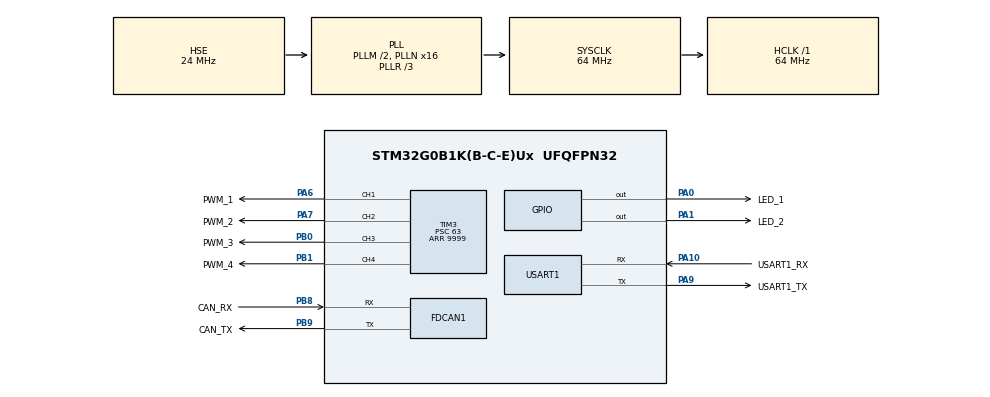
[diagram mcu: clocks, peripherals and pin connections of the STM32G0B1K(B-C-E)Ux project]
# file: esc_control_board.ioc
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FDCAN1.AutoRetransmission=ENABLE
FDCAN1.CalculateBaudRateNominal=500000
FDCAN1.CalculateTimeBitNominal=2000
FDCAN1.CalculateTimeQuantumNominal=125.0
FDCAN1.DataPrescaler=1
FDCAN1.NominalPrescaler=8
FDCAN1.NominalTimeSeg1=13
FDCAN1.NominalTimeSeg2=2
FDCAN1.StdFiltersNbr=3
Mcu.Family=STM32G0
Mcu.Name=STM32G0B1K(B-C-E)Ux
Mcu.Package=UFQFPN32
NVIC.TIM16_FDCAN_IT0_IRQn=true\:0\:0\:false\:false\:true\:true\:true\:true
PA0.GPIO_Label=LED_1
PA0.Signal=GPIO_Output
PA1.GPIO_Label=LED_2
PA1.Signal=GPIO_Output
PA10.GPIO_Label=USART1_RX
PA10.Mode=Asynchronous
PA10.Signal=USART1_RX
PA13.Mode=Serial_Wire
PA13.Signal=SYS_SWDIO
PA14-BOOT0.Mode=Serial_Wire
PA14-BOOT0.Signal=SYS_SWCLK
PA6.GPIO_Label=PWM_1
PA6.Signal=S_TIM3_CH1
PA7.GPIO_Label=PWM_2
PA7.Signal=S_TIM3_CH2
PA9.GPIO_Label=USART1_TX
PA9.Mode=Asynchronous
PA9.Signal=USART1_TX
PB0.GPIO_Label=PWM_3
PB0.Signal=S_TIM3_CH3
PB1.GPIO_Label=PWM_4
PB1.Signal=S_TIM3_CH4
PB8.GPIO_Label=CAN_RX
PB8.Mode=FDCAN_Activate
PB8.Signal=FDCAN1_RX
PB9.GPIO_Label=CAN_TX
PB9.Mode=FDCAN_Activate
PB9.Signal=FDCAN1_TX
PC14-OSC32_IN\ (PC14).Mode=HSE-External-Clock-Source
PC14-OSC32_IN\ (PC14).Signal=RCC_OSC_IN
ProjectManager.HeapSize=0x200
ProjectManager.StackSize=0x400
ProjectManager.TargetToolchain=CMake
RCC.ADCFreq_Value=64000000
RCC.AHBFreq_Value=64000000
RCC.CortexFreq_Value=64000000
RCC.EXTERNAL_CLOCK_VALUE=48000
RCC.HCLKFreq_Value=64000000
RCC.HSE_VALUE=24000000
RCC.HSI48_VALUE=48000000
RCC.HSI_VALUE=16000000
RCC.LSE_VALUE=32768
RCC.PLLM=RCC_PLLM_DIV2
RCC.PLLN=16
RCC.PLLR=RCC_PLLR_DIV3
RCC.PLLSourceVirtual=RCC_PLLSOURCE_HSE
RCC.SYSCLKFreq_VALUE=64000000
RCC.SYSCLKSource=RCC_SYSCLKSOURCE_PLLCLK
RCC.USBFreq_Value=48000000
RCC.VCOOutputFreq_Value=192000000
SH.S_TIM3_CH1.0=TIM3_CH1,PWM Generation1 CH1
SH.S_TIM3_CH2.0=TIM3_CH2,PWM Generation2 CH2
SH.S_TIM3_CH3.0=TIM3_CH3,PWM Generation3 CH3
SH.S_TIM3_CH4.0=TIM3_CH4,PWM Generation4 CH4
TIM3.AutoReloadPreload=TIM_AUTORELOAD_PRELOAD_ENABLE
TIM3.Channel-PWM\ Generation1\ CH1=TIM_CHANNEL_1
TIM3.Channel-PWM\ Generation2\ CH2=TIM_CHANNEL_2
TIM3.Channel-PWM\ Generation3\ CH3=TIM_CHANNEL_3
TIM3.Channel-PWM\ Generation4\ CH4=TIM_CHANNEL_4
TIM3.Period=9999
TIM3.Prescaler=63
USART1.VirtualMode-Asynchronous=VM_ASYNC
VP_SYS_VS_DBSignals.Mode=DisableDeadBatterySignals
VP_TIM3_VS_ClockSourceINT.Mode=Internal
board=custom

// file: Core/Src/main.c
/* USER CODE BEGIN Header */
/**
 ******************************************************************************
 * @file           : main.c
 * @brief          : Main program body
 ******************************************************************************
 * @attention
 *
 * Copyright (c) 2026 STMicroelectronics.
 * All rights reserved.
 *
 * This software is licensed under terms that can be found in the LICENSE file
 * in the root directory of this software component.
 * If no LICENSE file comes with this software, it is provided AS-IS.
 *
 ******************************************************************************
 */
/* USER CODE END Header */
#include "main.h"
#include "fdcan.h"
#include "gpio.h"
#include "tim.h"
#include "usart.h"

/* USER CODE BEGIN Includes */
#include "can_common.h"
#include <string.h>

/* USER CODE END Includes */

/* USER CODE BEGIN PD */
#define PWM_NEUTRAL_US 1500
#define PWM_RANGE_US 400
#define ARMING_HOLD_MS 5000 // TODO: test still
/* USER CODE END PD */

/* USER CODE BEGIN PV */
static volatile uint32_t lastCanRxTick = 0;
static volatile uint8_t is_estop_latched = 0;

/* USER CODE END PV */

void SystemClock_Config(void);
/* USER CODE BEGIN PFP */
static uint16_t thrust_percent_to_us(int8_t pct);
static void set_thrust_us(uint16_t fl_us, uint16_t fr_us, uint16_t bl_us,
                          uint16_t br_us);
static void set_thrust_percent(int8_t fl, int8_t fr, int8_t bl, int8_t br);
static void stop_all(void);
static void arm_thrusters(void);
static void init_can(void);
void HAL_FDCAN_RxFifo0Callback(FDCAN_HandleTypeDef *hfdcan,
                               uint32_t RxFifo0ITs);

/* USER CODE END PFP */

/* USER CODE BEGIN 0 */
static uint16_t thrust_percent_to_us(int8_t pct) {
  // map -100 to +100 to 1100 to 1900 us
  if (pct > THRUST_PCT_MAX)
    pct = THRUST_PCT_MAX;
  if (pct < -THRUST_PCT_MAX)
    pct = -THRUST_PCT_MAX;
  return (uint16_t)(PWM_NEUTRAL_US + (pct * PWM_RANGE_US) / THRUST_PCT_MAX);
}

static void set_thrust_us(uint16_t fl_us, uint16_t fr_us, uint16_t bl_us,
                          uint16_t br_us) {
  __HAL_TIM_SET_COMPARE(&htim3, TIM_CHANNEL_1, fl_us); // PWM 1
  __HAL_TIM_SET_COMPARE(&htim3, TIM_CHANNEL_2, fr_us); // PWM 2
  __HAL_TIM_SET_COMPARE(&htim3, TIM_CHANNEL_3, bl_us); // PWM 3
  __HAL_TIM_SET_COMPARE(&htim3, TIM_CHANNEL_4, br_us); // PWM 4
}

static void set_thrust_percent(int8_t fl, int8_t fr, int8_t bl, int8_t br) {
  set_thrust_us(thrust_percent_to_us(fl), thrust_percent_to_us(fr),
                thrust_percent_to_us(bl), thrust_percent_to_us(br));
}

static void stop_all(void) {
  set_thrust_us(PWM_NEUTRAL_US, PWM_NEUTRAL_US, PWM_NEUTRAL_US, PWM_NEUTRAL_US);
}

static void arm_thrusters(void) { HAL_Delay(ARMING_HOLD_MS); }

static void init_can(void) {
  FDCAN_FilterTypeDef sFilterConfig = {0};

  sFilterConfig.IdType = FDCAN_STANDARD_ID;
  sFilterConfig.FilterType = FDCAN_FILTER_MASK;
  sFilterConfig.FilterConfig = FDCAN_FILTER_TO_RXFIFO0;
  sFilterConfig.FilterID2 = 0x7FF; // mask -> need all 11 bits to match

  // filter 0: thruster cmd (0x100)
  sFilterConfig.FilterIndex = 0;
  sFilterConfig.FilterID1 = CAN_ID_THRUSTER_CMD;
  if (HAL_FDCAN_ConfigFilter(&hfdcan1, &sFilterConfig) != HAL_OK) {
    Error_Handler();
  }

  // filter 1: estop (0x000)
  sFilterConfig.FilterIndex = 1;
  sFilterConfig.FilterID1 = CAN_ID_ESTOP;
  if (HAL_FDCAN_ConfigFilter(&hfdcan1, &sFilterConfig) != HAL_OK) {
    Error_Handler();
  }

  // filter 2: e-stop reset (0x001)
  sFilterConfig.FilterIndex = 2;
  sFilterConfig.FilterID1 = CAN_ID_ESTOP_RST;
  if (HAL_FDCAN_ConfigFilter(&hfdcan1, &sFilterConfig) != HAL_OK) {
    Error_Handler();
  }

  // reject non-matching frames
  if (HAL_FDCAN_ConfigGlobalFilter(&hfdcan1, FDCAN_REJECT, FDCAN_REJECT,
                                   FDCAN_REJECT_REMOTE,
                                   FDCAN_REJECT_REMOTE) != HAL_OK) {
    Error_Handler();
  }

  if (HAL_FDCAN_Start(&hfdcan1) != HAL_OK) {
    Error_Handler();
  }

  // init interrupt on new msg
  if (HAL_FDCAN_ActivateNotification(&hfdcan1, FDCAN_IT_RX_FIFO0_NEW_MESSAGE,
                                     0) != HAL_OK) {
    Error_Handler();
  }
}

void HAL_FDCAN_RxFifo0Callback(FDCAN_HandleTypeDef *hfdcan,
                               uint32_t RxFifo0ITs) {
  if (!(RxFifo0ITs & FDCAN_IT_RX_FIFO0_NEW_MESSAGE))
    return;

  FDCAN_RxHeaderTypeDef hdr;
  uint8_t payload[8];

  // go through entire can FIFO
  while (HAL_FDCAN_GetRxFifoFillLevel(hfdcan, FDCAN_RX_FIFO0) > 0) {
    if (HAL_FDCAN_GetRxMessage(hfdcan, FDCAN_RX_FIFO0, &hdr, payload) != HAL_OK)
      break;

    switch (hdr.Identifier) {
    case CAN_ID_ESTOP:
      is_estop_latched = 1;
      stop_all();
      break;

    case CAN_ID_ESTOP_RST:
      // val reset payload, prevent acc reset
      if (is_estop_latched && hdr.DataLength == FDCAN_DLC_BYTES_2 &&
          payload[0] == ESTOP_RST_0 && payload[1] == ESTOP_RST_1) {
        stop_all(); // stopped until next cmd
        is_estop_latched = 0;
        lastCanRxTick = HAL_GetTick(); // restart failsafe timer
      }
      break;

    case CAN_ID_THRUSTER_CMD:
      if (!is_estop_latched && hdr.DataLength == FDCAN_DLC_BYTES_4) {
        thruster_commands_t cmd;
        memcpy(&cmd, payload, sizeof(cmd));
        set_thrust_percent(cmd.fl, cmd.fr, cmd.bl, cmd.br);
        lastCanRxTick = HAL_GetTick();
      }
      break;

    default:
      // should never happen
      break;
    }
  }
}

/* USER CODE END 0 */

int main(void) {

  /* MCU
   * Configuration--------------------------------------------------------*/

  /* Reset of all peripherals, Initializes the Flash interface and the
   * Systick. */
  HAL_Init();

  /* Configure the system clock */
  SystemClock_Config();

  /* Initialize all configured peripherals */
  MX_GPIO_Init();
  MX_FDCAN1_Init();
  MX_USART1_UART_Init();
  MX_TIM3_Init();
  /* USER CODE BEGIN 2 */

  stop_all();
  HAL_TIM_PWM_Start(&htim3, TIM_CHANNEL_1);
  HAL_TIM_PWM_Start(&htim3, TIM_CHANNEL_2);
  HAL_TIM_PWM_Start(&htim3, TIM_CHANNEL_3);
  HAL_TIM_PWM_Start(&htim3, TIM_CHANNEL_4);

  arm_thrusters();

  init_can();
  lastCanRxTick = HAL_GetTick();

  /* USER CODE END 2 */

  /* Infinite loop */
  while (1) {
    /* USER CODE BEGIN 3 */
    if (HAL_GetTick() - lastCanRxTick > CAN_CMD_TIMEOUT_MS) {
      // no can msgs -> canbus or LV issue -> stop thrusters
      stop_all();
    }
  }
  /* USER CODE END 3 */
}

void SystemClock_Config(void) {
  RCC_OscInitTypeDef RCC_OscInitStruct = {0};
  RCC_ClkInitTypeDef RCC_ClkInitStruct = {0};

  /** Configure the main internal regulator output voltage
   */
  HAL_PWREx_ControlVoltageScaling(PWR_REGULATOR_VOLTAGE_SCALE1);

  /** Initializes the RCC Oscillators according to the specified parameters
   * in the RCC_OscInitTypeDef structure.
   */
  RCC_OscInitStruct.OscillatorType = RCC_OSCILLATORTYPE_HSE;
  RCC_OscInitStruct.HSEState = RCC_HSE_BYPASS;
  RCC_OscInitStruct.PLL.PLLState = RCC_PLL_ON;
  RCC_OscInitStruct.PLL.PLLSource = RCC_PLLSOURCE_HSE;
  RCC_OscInitStruct.PLL.PLLM = RCC_PLLM_DIV2;
  RCC_OscInitStruct.PLL.PLLN = 16;
  RCC_OscInitStruct.PLL.PLLP = RCC_PLLP_DIV2;
  RCC_OscInitStruct.PLL.PLLQ = RCC_PLLQ_DIV2;
  RCC_OscInitStruct.PLL.PLLR = RCC_PLLR_DIV3;
  if (HAL_RCC_OscConfig(&RCC_OscInitStruct) != HAL_OK) {
    Error_Handler();
  }

  /** Initializes the CPU, AHB and APB buses clocks
   */
  RCC_ClkInitStruct.ClockType =
      RCC_CLOCKTYPE_HCLK | RCC_CLOCKTYPE_SYSCLK | RCC_CLOCKTYPE_PCLK1;
  RCC_ClkInitStruct.SYSCLKSource = RCC_SYSCLKSOURCE_PLLCLK;
  RCC_ClkInitStruct.AHBCLKDivider = RCC_SYSCLK_DIV1;
  RCC_ClkInitStruct.APB1CLKDivider = RCC_HCLK_DIV1;

  if (HAL_RCC_ClockConfig(&RCC_ClkInitStruct, FLASH_LATENCY_2) != HAL_OK) {
    Error_Handler();
  }
}

void Error_Handler(void) {
  /* USER CODE BEGIN Error_Handler_Debug */
  /* User can add his own implementation to report the HAL error return state
   */
  __disable_irq();
  while (1) {
  }
  /* USER CODE END Error_Handler_Debug */
}
#ifdef USE_FULL_ASSERT
/**
 * @brief  Reports the name of the source file and the source line number
 *         where the assert_param error has occurred.
 * @param  file: pointer to the source file name
 * @param  line: assert_param error line source number
 * @retval None
 */
void assert_failed(uint8_t *file, uint32_t line) {
  /* USER CODE BEGIN 6 */
  /* User can add his own implementation to report the file name and line
     number, ex: printf("Wrong parameters value: file %s on line %d\r\n",
     file, line) */
  /* USER CODE END 6 */
}
#endif /* USE_FULL_ASSERT */
